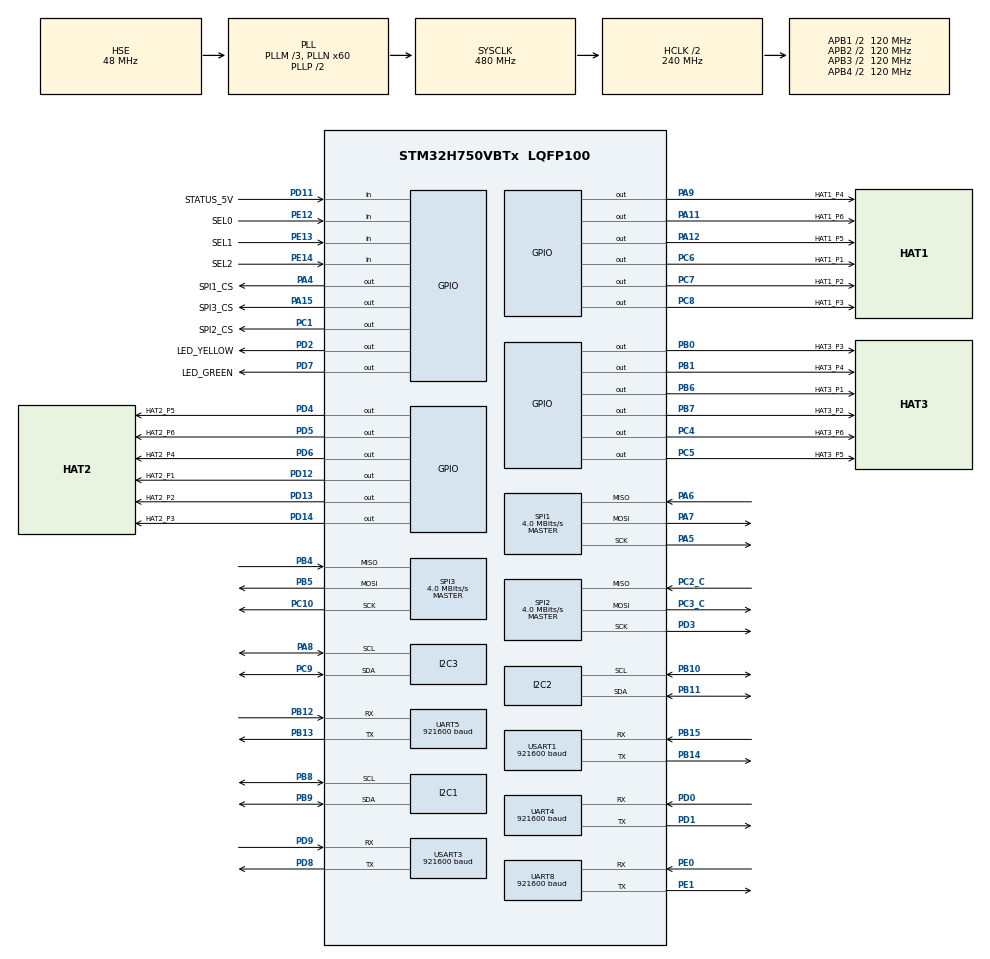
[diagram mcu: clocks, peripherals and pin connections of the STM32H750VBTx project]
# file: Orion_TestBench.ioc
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CORTEX_M7.AccessPermission-Cortex_Memory_Protection_Unit_Region0_Settings=MPU_REGION_FULL_ACCESS
CORTEX_M7.AccessPermission-Cortex_Memory_Protection_Unit_Region1_Settings=MPU_REGION_FULL_ACCESS
CORTEX_M7.BaseAddress-Cortex_Memory_Protection_Unit_Region0_Settings=0x90000000
CORTEX_M7.BaseAddress-Cortex_Memory_Protection_Unit_Region1_Settings=0x90000000
CORTEX_M7.CPU_DCache=Enabled
CORTEX_M7.CPU_ICache=Enabled
CORTEX_M7.DisableExec-Cortex_Memory_Protection_Unit_Region0_Settings=MPU_INSTRUCTION_ACCESS_DISABLE
CORTEX_M7.DisableExec-Cortex_Memory_Protection_Unit_Region1_Settings=MPU_INSTRUCTION_ACCESS_ENABLE
CORTEX_M7.Enable-Cortex_Memory_Protection_Unit_Region0_Settings=MPU_REGION_ENABLE
CORTEX_M7.Enable-Cortex_Memory_Protection_Unit_Region1_Settings=MPU_REGION_ENABLE
CORTEX_M7.IsBufferable-Cortex_Memory_Protection_Unit_Region0_Settings=MPU_ACCESS_BUFFERABLE
CORTEX_M7.IsBufferable-Cortex_Memory_Protection_Unit_Region1_Settings=MPU_ACCESS_BUFFERABLE
CORTEX_M7.IsCacheable-Cortex_Memory_Protection_Unit_Region0_Settings=MPU_ACCESS_CACHEABLE
CORTEX_M7.IsCacheable-Cortex_Memory_Protection_Unit_Region1_Settings=MPU_ACCESS_CACHEABLE
CORTEX_M7.MPU_Control=MPU_PRIVILEGED_DEFAULT
CORTEX_M7.Size-Cortex_Memory_Protection_Unit_Region0_Settings=MPU_REGION_SIZE_16MB
CORTEX_M7.Size-Cortex_Memory_Protection_Unit_Region1_Settings=MPU_REGION_SIZE_1MB
Dma.Request0=UART4_RX
Dma.Request1=UART5_RX
Dma.Request2=UART8_RX
Dma.Request3=USART3_RX
Dma.UART4_RX.0.Direction=DMA_PERIPH_TO_MEMORY
Dma.UART4_RX.0.EventEnable=DISABLE
Dma.UART4_RX.0.FIFOMode=DMA_FIFOMODE_DISABLE
Dma.UART4_RX.0.Instance=DMA1_Stream1
Dma.UART4_RX.0.MemDataAlignment=DMA_MDATAALIGN_BYTE
Dma.UART4_RX.0.MemInc=DMA_MINC_ENABLE
Dma.UART4_RX.0.Mode=DMA_CIRCULAR
Dma.UART4_RX.0.PeriphDataAlignment=DMA_PDATAALIGN_BYTE
Dma.UART4_RX.0.PeriphInc=DMA_PINC_DISABLE
Dma.UART4_RX.0.Polarity=HAL_DMAMUX_REQ_GEN_RISING
Dma.UART4_RX.0.Priority=DMA_PRIORITY_HIGH
Dma.UART4_RX.0.RequestNumber=1
Dma.UART4_RX.0.SignalID=NONE
Dma.UART4_RX.0.SyncEnable=DISABLE
Dma.UART4_RX.0.SyncPolarity=HAL_DMAMUX_SYNC_NO_EVENT
Dma.UART4_RX.0.SyncRequestNumber=1
Dma.UART4_RX.0.SyncSignalID=NONE
Dma.UART5_RX.1.Direction=DMA_PERIPH_TO_MEMORY
Dma.UART5_RX.1.EventEnable=DISABLE
Dma.UART5_RX.1.FIFOMode=DMA_FIFOMODE_DISABLE
Dma.UART5_RX.1.Instance=DMA1_Stream2
Dma.UART5_RX.1.MemDataAlignment=DMA_MDATAALIGN_BYTE
Dma.UART5_RX.1.MemInc=DMA_MINC_ENABLE
Dma.UART5_RX.1.Mode=DMA_CIRCULAR
Dma.UART5_RX.1.PeriphDataAlignment=DMA_PDATAALIGN_BYTE
Dma.UART5_RX.1.PeriphInc=DMA_PINC_DISABLE
Dma.UART5_RX.1.Polarity=HAL_DMAMUX_REQ_GEN_RISING
Dma.UART5_RX.1.Priority=DMA_PRIORITY_HIGH
Dma.UART5_RX.1.RequestNumber=1
Dma.UART5_RX.1.SignalID=NONE
Dma.UART5_RX.1.SyncEnable=DISABLE
Dma.UART5_RX.1.SyncPolarity=HAL_DMAMUX_SYNC_NO_EVENT
Dma.UART5_RX.1.SyncRequestNumber=1
Dma.UART5_RX.1.SyncSignalID=NONE
Dma.UART8_RX.2.Direction=DMA_PERIPH_TO_MEMORY
Dma.UART8_RX.2.EventEnable=DISABLE
Dma.UART8_RX.2.FIFOMode=DMA_FIFOMODE_DISABLE
Dma.UART8_RX.2.Instance=DMA1_Stream3
Dma.UART8_RX.2.MemDataAlignment=DMA_MDATAALIGN_BYTE
Dma.UART8_RX.2.MemInc=DMA_MINC_ENABLE
Dma.UART8_RX.2.Mode=DMA_CIRCULAR
Dma.UART8_RX.2.PeriphDataAlignment=DMA_PDATAALIGN_BYTE
Dma.UART8_RX.2.PeriphInc=DMA_PINC_DISABLE
Dma.UART8_RX.2.Polarity=HAL_DMAMUX_REQ_GEN_RISING
Dma.UART8_RX.2.Priority=DMA_PRIORITY_HIGH
Dma.UART8_RX.2.RequestNumber=1
Dma.UART8_RX.2.SignalID=NONE
Dma.UART8_RX.2.SyncEnable=DISABLE
Dma.UART8_RX.2.SyncPolarity=HAL_DMAMUX_SYNC_NO_EVENT
Dma.UART8_RX.2.SyncRequestNumber=1
Dma.UART8_RX.2.SyncSignalID=NONE
Dma.USART3_RX.3.Direction=DMA_PERIPH_TO_MEMORY
Dma.USART3_RX.3.EventEnable=DISABLE
Dma.USART3_RX.3.FIFOMode=DMA_FIFOMODE_DISABLE
Dma.USART3_RX.3.Instance=DMA1_Stream0
Dma.USART3_RX.3.MemDataAlignment=DMA_MDATAALIGN_BYTE
Dma.USART3_RX.3.MemInc=DMA_MINC_ENABLE
Dma.USART3_RX.3.Mode=DMA_CIRCULAR
Dma.USART3_RX.3.PeriphDataAlignment=DMA_PDATAALIGN_BYTE
Dma.USART3_RX.3.PeriphInc=DMA_PINC_DISABLE
Dma.USART3_RX.3.Polarity=HAL_DMAMUX_REQ_GEN_RISING
Dma.USART3_RX.3.Priority=DMA_PRIORITY_HIGH
Dma.USART3_RX.3.RequestNumber=1
Dma.USART3_RX.3.SignalID=NONE
Dma.USART3_RX.3.SyncEnable=DISABLE
Dma.USART3_RX.3.SyncPolarity=HAL_DMAMUX_SYNC_NO_EVENT
Dma.USART3_RX.3.SyncRequestNumber=1
Dma.USART3_RX.3.SyncSignalID=NONE
FREERTOS.Tasks01=blink01,24,128,StartBlink01,Default,NULL,Dynamic,NULL,NULL;adsTask,40,1024,StartAdsTask,Default,NULL,Dynamic,NULL,NULL;gpioTask,40,128,StartGPIOTask,Default,NULL,Dynamic,NULL,NULL;bmpTask,40,1024,StartBMPTask,Default,NULL,Dynamic,NULL,NULL;blink02,24,128,StartBlink02,Default,NULL,Dynamic,NULL,NULL
FREERTOS.configUSE_NEWLIB_REENTRANT=1
I2C1.Timing=0x307075B1
I2C2.Timing=0x307075B1
I2C3.Timing=0x307075B1
Mcu.Family=STM32H7
Mcu.Name=STM32H750VBTx
Mcu.Package=LQFP100
NVIC.DMA1_Stream0_IRQn=true\:5\:0\:false\:false\:true\:true\:false\:true\:true
NVIC.DMA1_Stream1_IRQn=true\:5\:0\:false\:false\:true\:true\:false\:true\:true
NVIC.DMA1_Stream2_IRQn=true\:5\:0\:false\:false\:true\:true\:false\:true\:true
NVIC.DMA1_Stream3_IRQn=true\:5\:0\:false\:false\:true\:true\:false\:true\:true
NVIC.PriorityGroup=NVIC_PRIORITYGROUP_4
NVIC.TIM6_DAC_IRQn=true\:15\:0\:false\:false\:true\:false\:false\:true\:true
NVIC.TimeBase=TIM6_DAC_IRQn
NVIC.TimeBaseIP=TIM6
NVIC.UART4_IRQn=true\:5\:0\:false\:false\:true\:true\:true\:true\:true
NVIC.UART5_IRQn=true\:5\:0\:false\:false\:true\:true\:true\:true\:true
NVIC.UART8_IRQn=true\:5\:0\:false\:false\:true\:true\:true\:true\:true
NVIC.USART3_IRQn=true\:5\:0\:false\:false\:true\:true\:true\:true\:true
PA11.GPIO_Label=HAT1_P6
PA11.Signal=GPIO_Output
PA12.GPIO_Label=HAT1_P5
PA12.Signal=GPIO_Output
PA13\ (JTMS/SWDIO).Signal=DEBUG_JTMS-SWDIO
PA14\ (JTCK/SWCLK).Signal=DEBUG_JTCK-SWCLK
PA15\ (JTDI).GPIO_Label=SPI3_CS
PA15\ (JTDI).Signal=GPIO_Output
PA4.GPIO_Label=SPI1_CS
PA4.Signal=GPIO_Output
PA5.Mode=Full_Duplex_Master
PA5.Signal=SPI1_SCK
PA6.Mode=Full_Duplex_Master
PA6.Signal=SPI1_MISO
PA7.Mode=Full_Duplex_Master
PA7.Signal=SPI1_MOSI
PA8.Mode=I2C
PA8.Signal=I2C3_SCL
PA9.GPIO_Label=HAT1_P4
PA9.Signal=GPIO_Output
PB0.GPIO_Label=HAT3_P3
PB0.Signal=GPIO_Output
PB1.GPIO_Label=HAT3_P4
PB1.Signal=GPIO_Output
PB10.Mode=I2C
PB10.Signal=I2C2_SCL
PB11.Mode=I2C
PB11.Signal=I2C2_SDA
PB12.Mode=Asynchronous
PB12.Signal=UART5_RX
PB13.Mode=Asynchronous
PB13.Signal=UART5_TX
PB14.Mode=Asynchronous
PB14.Signal=USART1_TX
PB15.Mode=Asynchronous
PB15.Signal=USART1_RX
PB3\ (JTDO/TRACESWO).Signal=DEBUG_JTDO-SWO
PB4\ (NJTRST).Mode=Full_Duplex_Master
PB4\ (NJTRST).Signal=SPI3_MISO
PB5.Mode=Full_Duplex_Master
PB5.Signal=SPI3_MOSI
PB6.GPIO_Label=HAT3_P1
PB6.Signal=GPIO_Output
PB7.GPIO_Label=HAT3_P2
PB7.Signal=GPIO_Output
PB8.GPIO_Pu=GPIO_NOPULL
PB8.Mode=I2C
PB8.Signal=I2C1_SCL
PB9.GPIO_Pu=GPIO_NOPULL
PB9.Mode=I2C
PB9.Signal=I2C1_SDA
PC1.GPIO_Label=SPI2_CS
PC1.Signal=GPIO_Output
PC10.Mode=Full_Duplex_Master
PC10.Signal=SPI3_SCK
PC14-OSC32_IN\ (OSC32_IN).Mode=LSE-External-Oscillator
PC14-OSC32_IN\ (OSC32_IN).Signal=RCC_OSC32_IN
PC15-OSC32_OUT\ (OSC32_OUT).Mode=LSE-External-Oscillator
PC15-OSC32_OUT\ (OSC32_OUT).Signal=RCC_OSC32_OUT
PC2_C.Mode=Full_Duplex_Master
PC2_C.Signal=SPI2_MISO
PC3_C.Mode=Full_Duplex_Master
PC3_C.Signal=SPI2_MOSI
PC4.GPIO_Label=HAT3_P6
PC4.Signal=GPIO_Output
PC5.GPIO_Label=HAT3_P5
PC5.Signal=GPIO_Output
PC6.GPIO_Label=HAT1_P1
PC6.Signal=GPIO_Output
PC7.GPIO_Label=HAT1_P2
PC7.Signal=GPIO_Output
PC8.GPIO_Label=HAT1_P3
PC8.Signal=GPIO_Output
PC9.Mode=I2C
PC9.Signal=I2C3_SDA
PD0.Mode=Asynchronous
PD0.Signal=UART4_RX
PD1.Mode=Asynchronous
PD1.Signal=UART4_TX
PD11.GPIO_Label=STATUS_5V
PD11.Signal=GPIO_Input
PD12.GPIO_Label=HAT2_P1
PD12.Signal=GPIO_Output
PD13.GPIO_Label=HAT2_P2
PD13.Signal=GPIO_Output
PD14.GPIO_Label=HAT2_P3
PD14.Signal=GPIO_Output
PD2.GPIO_Label=LED_YELLOW
PD2.Signal=GPIO_Output
PD3.Mode=Full_Duplex_Master
PD3.Signal=SPI2_SCK
PD4.GPIO_Label=HAT2_P5
PD4.Signal=GPIO_Output
PD5.GPIO_Label=HAT2_P6
PD5.Signal=GPIO_Output
PD6.GPIO_Label=HAT2_P4
PD6.Signal=GPIO_Output
PD7.GPIO_Label=LED_GREEN
PD7.Signal=GPIO_Output
PD8.Mode=Asynchronous
PD8.Signal=USART3_TX
PD9.Mode=Asynchronous
PD9.Signal=USART3_RX
PE0.Mode=Asynchronous
PE0.Signal=UART8_RX
PE1.Mode=Asynchronous
PE1.Signal=UART8_TX
PE12.GPIO_Label=SEL0
PE12.Signal=GPIO_Input
PE13.GPIO_Label=SEL1
PE13.Signal=GPIO_Input
PE14.GPIO_Label=SEL2
PE14.Signal=GPIO_Input
PH0-OSC_IN\ (PH0).Mode=HSE-External-Oscillator
PH0-OSC_IN\ (PH0).Signal=RCC_OSC_IN
PH1-OSC_OUT\ (PH1).Mode=HSE-External-Oscillator
PH1-OSC_OUT\ (PH1).Signal=RCC_OSC_OUT
ProjectManager.HeapSize=0x200
ProjectManager.StackSize=0x400
ProjectManager.TargetToolchain=STM32CubeIDE
RCC.ADCFreq_Value=96750000
RCC.APB1Freq_Value=120000000
RCC.APB2Freq_Value=120000000
RCC.APB3Freq_Value=120000000
RCC.APB4Freq_Value=120000000
RCC.CortexFreq_Value=480000000
RCC.D1PPRE=RCC_APB3_DIV2
RCC.D2PPRE1=RCC_APB1_DIV2
RCC.D2PPRE2=RCC_APB2_DIV2
RCC.D3PPRE=RCC_APB4_DIV2
RCC.DIVM1=3
RCC.DIVN1=60
RCC.HCLKFreq_Value=240000000
RCC.HPRE=RCC_HCLK_DIV2
RCC.HSE_VALUE=48000000
RCC.PLLFRACN=0
RCC.PLLSourceVirtual=RCC_PLLSOURCE_HSE
RCC.SPI123CLockSelection=RCC_SPI123CLKSOURCE_CLKP
RCC.SYSCLKFreq_VALUE=480000000
RCC.SYSCLKSource=RCC_SYSCLKSOURCE_PLLCLK
RCC.USBFreq_Value=480000000
SPI1.BaudRatePrescaler=SPI_BAUDRATEPRESCALER_16
SPI1.CLKPhase=SPI_PHASE_2EDGE
SPI1.CLKPolarity=SPI_POLARITY_HIGH
SPI1.CalculateBaudRate=4.0 MBits/s
SPI1.DataSize=SPI_DATASIZE_8BIT
SPI1.Direction=SPI_DIRECTION_2LINES
SPI1.Mode=SPI_MODE_MASTER
SPI1.VirtualType=VM_MASTER
SPI2.BaudRatePrescaler=SPI_BAUDRATEPRESCALER_16
SPI2.CLKPhase=SPI_PHASE_2EDGE
SPI2.CLKPolarity=SPI_POLARITY_HIGH
SPI2.CalculateBaudRate=4.0 MBits/s
SPI2.DataSize=SPI_DATASIZE_8BIT
SPI2.Direction=SPI_DIRECTION_2LINES
SPI2.Mode=SPI_MODE_MASTER
SPI2.VirtualType=VM_MASTER
SPI3.BaudRatePrescaler=SPI_BAUDRATEPRESCALER_16
SPI3.CLKPhase=SPI_PHASE_2EDGE
SPI3.CLKPolarity=SPI_POLARITY_HIGH
SPI3.CalculateBaudRate=4.0 MBits/s
SPI3.DataSize=SPI_DATASIZE_8BIT
SPI3.Direction=SPI_DIRECTION_2LINES
SPI3.Mode=SPI_MODE_MASTER
SPI3.VirtualType=VM_MASTER
TIM8.AutoReloadPreload=TIM_AUTORELOAD_PRELOAD_ENABLE
TIM8.Period=20000-1
TIM8.Prescaler=240-1
UART4.BaudRate=921600
UART5.BaudRate=921600
UART8.BaudRate=921600
USART1.BaudRate=921600
USART1.VirtualMode-Asynchronous=VM_ASYNC
USART3.BaudRate=921600
USART3.VirtualMode-Asynchronous=VM_ASYNC
VP_FREERTOS_VS_CMSIS_V2.Mode=CMSIS_V2
VP_SYS_VS_tim6.Mode=TIM6
VP_TIM8_VS_ClockSourceINT.Mode=Internal
board=custom

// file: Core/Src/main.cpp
/* USER CODE BEGIN Header */
/**
  ******************************************************************************
  * @file           : main.c
  * @brief          : Main program body
  ******************************************************************************
  * @attention
  *
  * Copyright (c) 2022 STMicroelectronics.
  * All rights reserved.
  *
  * This software is licensed under terms that can be found in the LICENSE file
  * in the root directory of this software component.
  * If no LICENSE file comes with this software, it is provided AS-IS.
  *
  ******************************************************************************
  */
/* USER CODE END Header */
#include "main.h"
#include "cmsis_os.h"
#include "dma.h"
#include "i2c.h"
#include "spi.h"
#include "tim.h"
#include "usart.h"
#include "gpio.h"

/* USER CODE BEGIN Includes */
#include "stdio.h"
/* USER CODE END Includes */

void SystemClock_Config(void);
void PeriphCommonClock_Config(void);
static void MPU_Config(void);
void MX_FREERTOS_Init(void);

/* USER CODE BEGIN 0 */
uint8_t Rx_data[100] = {0};
uint8_t uart_name[100] = {0};

uint8_t Buffer[25] = {0};
uint8_t Space[] = " - ";
uint8_t StartMSG[] = "Starting I2C Scanning: \r\n";
uint8_t EndMSG[] = "Done! \r\n\r\n";

//uint16_t counter = 0;
extern "C" { // C++ cannot override printf, must compile in C
int __io_putchar(int ch) {
    ITM_SendChar(ch);
    return ch;
}
}

void HAL_UART_RxCpltCallback(UART_HandleTypeDef *huart)
{
  SCB_InvalidateDCache_by_Addr((uint32_t*)(((uint32_t)Rx_data) & ~(uint32_t)0x1F), 100+32);
  HAL_UART_Receive_DMA(huart, Rx_data, 100);
  uint8_t uart_number;
  if (huart == &huart3)
	  uart_number = 3;
  else if (huart == &huart4)
	  uart_number = 4;
  else if (huart == &huart5)
	  uart_number = 5;
  else
	  uart_number = 8;
  sprintf((char*)uart_name, "Received on UART%d ", uart_number);
  HAL_UART_Transmit(&huart1, uart_name, sizeof(uart_name), 100);
  HAL_UART_Transmit(&huart1, Rx_data, sizeof(Rx_data), 100);
}

/* USER CODE END 0 */

int main(void)
{

  /* MPU Configuration--------------------------------------------------------*/
  MPU_Config();

  /* Enable I-Cache---------------------------------------------------------*/
  SCB_EnableICache();

  /* Enable D-Cache---------------------------------------------------------*/
  SCB_EnableDCache();

  /* MCU Configuration--------------------------------------------------------*/

  /* Reset of all peripherals, Initializes the Flash interface and the Systick. */
  HAL_Init();

  /* Configure the system clock */
  SystemClock_Config();

/* Configure the peripherals common clocks */
  PeriphCommonClock_Config();

  /* Initialize all configured peripherals */
  MX_GPIO_Init();
  MX_DMA_Init();
  MX_I2C1_Init();
  MX_I2C2_Init();
  MX_I2C3_Init();
  MX_SPI1_Init();
  MX_SPI2_Init();
  MX_SPI3_Init();
  MX_TIM8_Init();
  MX_USART1_UART_Init();
  MX_USART3_UART_Init();
  MX_UART4_Init();
  MX_UART5_Init();
  MX_UART8_Init();
  /* USER CODE BEGIN 2 */
//  uint8_t MSG[100] = {0};
//  uint8_t MSG_PWR[45] = {'\0'};
  HAL_TIM_PWM_Start (&htim8, TIM_CHANNEL_1);
//  TIM8->CCR1 = 1;
//  int32_t CH1_DC = 1000;
  HAL_UART_Receive_DMA(&huart3, Rx_data, 100);
  HAL_UART_Receive_DMA(&huart4, Rx_data, 100);

  HAL_UART_Receive_DMA(&huart5, Rx_data, 100);
  HAL_UART_Receive_DMA(&huart8, Rx_data, 100);

  uint8_t i = 0, ret;
  HAL_UART_Transmit(&huart1, StartMSG, sizeof(StartMSG), 10000);
  for(i=1; i<128; i++)
  {
	#if defined(TEST_HAT_1)
	  ret = HAL_I2C_IsDeviceReady(&hi2c1, (uint16_t)(i<<1), 3, 5);
	#elif defined(TEST_HAT_2)
	  ret = HAL_I2C_IsDeviceReady(&hi2c2, (uint16_t)(i<<1), 3, 5);
	#elif defined(TEST_HAT_3)
	  ret = HAL_I2C_IsDeviceReady(&hi2c3, (uint16_t)(i<<1), 3, 5);
	#endif

      if (ret != HAL_OK) /* No ACK Received At That Address */
      {
          HAL_UART_Transmit(&huart1, Space, sizeof(Space), 10000);
      }
      else if(ret == HAL_OK)
      {
          sprintf((char*)Buffer, "0x%X", i);
          HAL_UART_Transmit(&huart1, Buffer, sizeof(Buffer), 10000);
      }
  }
  HAL_UART_Transmit(&huart1, EndMSG, sizeof(EndMSG), 10000);

  /* USER CODE END 2 */

  /* Init scheduler */
  osKernelInitialize();  /* Call init function for freertos objects (in freertos.c) */
  MX_FREERTOS_Init();

  /* Start scheduler */
  osKernelStart();

  /* We should never get here as control is now taken by the scheduler */
  /* Infinite loop */
  while (1)
  {

    /* USER CODE BEGIN 3 */
//	  counter++;
//	  HAL_Delay(1000);
//	  HAL_UART_Receive (&huart3, Rx_data, 100, 1000);
//	  HAL_GPIO_TogglePin(LED_GREEN_GPIO_Port, LED_GREEN_Pin);
//	  HAL_GPIO_TogglePin(LED_YELLOW_GPIO_Port, LED_YELLOW_Pin);
//	  printf("Hello world! %d \n", counter);
//	  printf("\n\nCore=%d, %d MHz\n", SystemCoreClock, SystemCoreClock / 1000000);
//	  sprintf((char*)MSG, "Hello world from UART! Tracing counter = %d\r\n", counter);
//	  HAL_UART_Transmit(&huart1, MSG, sizeof(MSG), 100);
//	  HAL_UART_Transmit(&huart5, MSG, sizeof(MSG), 100);
//	  HAL_UART_Transmit(&huart3, MSG, sizeof(MSG), 100);
//	  HAL_UART_Transmit(&huart4, MSG, sizeof(MSG), 100);
//	  HAL_UART_Transmit(&huart8, MSG, sizeof(MSG), 100);
//	  if (HAL_GPIO_ReadPin(STATUS_5V_GPIO_Port, STATUS_5V_Pin)) {
//		  sprintf((char*)MSG_PWR, "Power from external source detected %d \n", counter);
//		  HAL_UART_Transmit(&huart1, MSG_PWR, sizeof(MSG_PWR), 100);
//	  }
//	  while(CH1_DC < 2000)
//	  {
//		  TIM8->CCR1 = CH1_DC;
//		  CH1_DC += 10;
//		  HAL_Delay(2);
//	  }
//	  while(CH1_DC > 1000)
//	  {
//		  TIM8->CCR1 = CH1_DC;
//		  CH1_DC -= 10;
//		  HAL_Delay(2);
//	  }
  }
  /* USER CODE END 3 */
}

void SystemClock_Config(void)
{
  RCC_OscInitTypeDef RCC_OscInitStruct = {0};
  RCC_ClkInitTypeDef RCC_ClkInitStruct = {0};

  /** Supply configuration update enable
  */
  HAL_PWREx_ConfigSupply(PWR_LDO_SUPPLY);

  /** Configure the main internal regulator output voltage
  */
  __HAL_PWR_VOLTAGESCALING_CONFIG(PWR_REGULATOR_VOLTAGE_SCALE1);

  while(!__HAL_PWR_GET_FLAG(PWR_FLAG_VOSRDY)) {}

  __HAL_RCC_SYSCFG_CLK_ENABLE();
  __HAL_PWR_VOLTAGESCALING_CONFIG(PWR_REGULATOR_VOLTAGE_SCALE0);

  while(!__HAL_PWR_GET_FLAG(PWR_FLAG_VOSRDY)) {}

  /** Initializes the RCC Oscillators according to the specified parameters
  * in the RCC_OscInitTypeDef structure.
  */
  RCC_OscInitStruct.OscillatorType = RCC_OSCILLATORTYPE_HSI|RCC_OSCILLATORTYPE_HSE;
  RCC_OscInitStruct.HSEState = RCC_HSE_ON;
  RCC_OscInitStruct.HSIState = RCC_HSI_DIV1;
  RCC_OscInitStruct.HSICalibrationValue = RCC_HSICALIBRATION_DEFAULT;
  RCC_OscInitStruct.PLL.PLLState = RCC_PLL_ON;
  RCC_OscInitStruct.PLL.PLLSource = RCC_PLLSOURCE_HSE;
  RCC_OscInitStruct.PLL.PLLM = 3;
  RCC_OscInitStruct.PLL.PLLN = 60;
  RCC_OscInitStruct.PLL.PLLP = 2;
  RCC_OscInitStruct.PLL.PLLQ = 2;
  RCC_OscInitStruct.PLL.PLLR = 2;
  RCC_OscInitStruct.PLL.PLLRGE = RCC_PLL1VCIRANGE_3;
  RCC_OscInitStruct.PLL.PLLVCOSEL = RCC_PLL1VCOWIDE;
  RCC_OscInitStruct.PLL.PLLFRACN = 0;
  if (HAL_RCC_OscConfig(&RCC_OscInitStruct) != HAL_OK)
  {
    Error_Handler();
  }

  /** Initializes the CPU, AHB and APB buses clocks
  */
  RCC_ClkInitStruct.ClockType = RCC_CLOCKTYPE_HCLK|RCC_CLOCKTYPE_SYSCLK
                              |RCC_CLOCKTYPE_PCLK1|RCC_CLOCKTYPE_PCLK2
                              |RCC_CLOCKTYPE_D3PCLK1|RCC_CLOCKTYPE_D1PCLK1;
  RCC_ClkInitStruct.SYSCLKSource = RCC_SYSCLKSOURCE_PLLCLK;
  RCC_ClkInitStruct.SYSCLKDivider = RCC_SYSCLK_DIV1;
  RCC_ClkInitStruct.AHBCLKDivider = RCC_HCLK_DIV2;
  RCC_ClkInitStruct.APB3CLKDivider = RCC_APB3_DIV2;
  RCC_ClkInitStruct.APB1CLKDivider = RCC_APB1_DIV2;
  RCC_ClkInitStruct.APB2CLKDivider = RCC_APB2_DIV2;
  RCC_ClkInitStruct.APB4CLKDivider = RCC_APB4_DIV2;

  if (HAL_RCC_ClockConfig(&RCC_ClkInitStruct, FLASH_LATENCY_4) != HAL_OK)
  {
    Error_Handler();
  }
}

void PeriphCommonClock_Config(void)
{
  RCC_PeriphCLKInitTypeDef PeriphClkInitStruct = {0};

  /** Initializes the peripherals clock
  */
  PeriphClkInitStruct.PeriphClockSelection = RCC_PERIPHCLK_CKPER;
  PeriphClkInitStruct.CkperClockSelection = RCC_CLKPSOURCE_HSI;
  if (HAL_RCCEx_PeriphCLKConfig(&PeriphClkInitStruct) != HAL_OK)
  {
    Error_Handler();
  }
}

/* MPU Configuration */

void MPU_Config(void)
{
  MPU_Region_InitTypeDef MPU_InitStruct = {0};

  /* Disables the MPU */
  HAL_MPU_Disable();

  /** Initializes and configures the Region and the memory to be protected
  */
  MPU_InitStruct.Enable = MPU_REGION_ENABLE;
  MPU_InitStruct.Number = MPU_REGION_NUMBER0;
  MPU_InitStruct.BaseAddress = 0x90000000;
  MPU_InitStruct.Size = MPU_REGION_SIZE_16MB;
  MPU_InitStruct.SubRegionDisable = 0x0;
  MPU_InitStruct.TypeExtField = MPU_TEX_LEVEL0;
  MPU_InitStruct.AccessPermission = MPU_REGION_FULL_ACCESS;
  MPU_InitStruct.DisableExec = MPU_INSTRUCTION_ACCESS_DISABLE;
  MPU_InitStruct.IsShareable = MPU_ACCESS_NOT_SHAREABLE;
  MPU_InitStruct.IsCacheable = MPU_ACCESS_CACHEABLE;
  MPU_InitStruct.IsBufferable = MPU_ACCESS_BUFFERABLE;

  HAL_MPU_ConfigRegion(&MPU_InitStruct);

  /** Initializes and configures the Region and the memory to be protected
  */
  MPU_InitStruct.Number = MPU_REGION_NUMBER1;
  MPU_InitStruct.Size = MPU_REGION_SIZE_1MB;
  MPU_InitStruct.DisableExec = MPU_INSTRUCTION_ACCESS_ENABLE;

  HAL_MPU_ConfigRegion(&MPU_InitStruct);
  /* Enables the MPU */
  HAL_MPU_Enable(MPU_PRIVILEGED_DEFAULT);

}

void HAL_TIM_PeriodElapsedCallback(TIM_HandleTypeDef *htim)
{
  if (htim->Instance == TIM6) {
    HAL_IncTick();
  }
}

void Error_Handler(void)
{
  __disable_irq();
  while (1)
  {
  }
}
